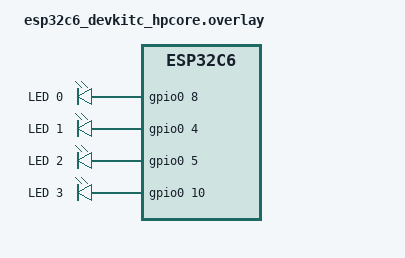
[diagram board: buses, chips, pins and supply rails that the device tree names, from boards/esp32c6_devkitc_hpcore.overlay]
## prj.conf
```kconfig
CONFIG_GPIO=y
CONFIG_LED_STRIP=y

# Debug build: -Og lets GDB stop at every source line with inspectable variables
CONFIG_DEBUG_OPTIMIZATIONS=y
```

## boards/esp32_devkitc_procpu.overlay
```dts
/*
 * Board overlay for ESP32-DevKitC PROCPU
 *
 * The ESP32 DevKitC has no built-in WS2812 LED. Connect a WS2812 data pin
 * to GPIO13 (SPIM2 MOSI). The SPI-based driver is used because the ESP32
 * does not have an I2S-DMA path suitable for LED strips.
 *
 * led-strip → WS2812 on GPIO13 (SPI2 MOSI, 6.4 MHz)
 */

#include <zephyr/dt-bindings/led/led.h>

&spi2 {
	/* Workaround: keep MOSI line low between transmissions */
	line-idle-low;

	led_strip: ws2812@0 {
		compatible = "worldsemi,ws2812-spi";

		/* SPI */
		reg = <0>; /* ignored, but required for SPI bindings */
		spi-max-frequency = <6400000>;

		/* WS2812 timing at 6.4 MHz (156.25 ns/bit × 8 bits = 1.25 µs/bit):
		 *   one-frame  = 0xF0 → 11110000 → 625 ns high + 625 ns low
		 *   zero-frame = 0xC0 → 11000000 → 312.5 ns high + 937.5 ns low
		 */
		spi-cpha;
		spi-one-frame  = <0xf0>;
		spi-zero-frame = <0xc0>;

		chain-length = <1>;
		color-mapping = <LED_COLOR_ID_GREEN
				 LED_COLOR_ID_RED
				 LED_COLOR_ID_BLUE>;
	};
};

/* Override SPI2 pinctrl to use only MOSI (data) — WS2812 is unidirectional */
&pinctrl {
	spim2_default: spim2_default {
		group2 {
			pinmux = <SPIM2_MOSI_GPIO13>;
			output-low;
		};
	};
};

/ {
	aliases {
		led-strip = &led_strip;
	};
};
```

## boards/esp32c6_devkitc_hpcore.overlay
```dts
/*
 * Board overlay for ESP32-C6-DevKitC HP Core
 *
 * Defines led0–led3 aliases required by the BME688 application.
 *
 * led0 → GPIO8  (onboard LED pin; WS2812 on DevKitC-1 v1.2, plain LED on v1.0)
 * led1 → GPIO4  (external LED, active-high)
 * led2 → GPIO5  (external LED, active-high)
 * led3 → GPIO10 (external LED, active-high)
 *
 * The button alias sw0 is already provided by the board DTS (GPIO9, BOOT key).
 */

/ {
	aliases {
		led0 = &led0;
		led1 = &led1;
		led2 = &led2;
		led3 = &led3;
	};

	leds {
		compatible = "gpio-leds";

		led0: led_0 {
			gpios = <&gpio0 8 GPIO_ACTIVE_HIGH>;
			label = "LED 0";
		};

		led1: led_1 {
			gpios = <&gpio0 4 GPIO_ACTIVE_HIGH>;
			label = "LED 1";
		};

		led2: led_2 {
			gpios = <&gpio0 5 GPIO_ACTIVE_HIGH>;
			label = "LED 2";
		};

		led3: led_3 {
			gpios = <&gpio0 10 GPIO_ACTIVE_HIGH>;
			label = "LED 3";
		};
	};
};
```

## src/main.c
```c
/*
 * Copyright (c) 2016 Intel Corporation
 *
 * SPDX-License-Identifier: Apache-2.0
 */

#include <stdio.h>
#include <string.h>
#include <zephyr/kernel.h>
#include <zephyr/drivers/led_strip.h>

/* 1000 msec = 1 sec */
#define SLEEP_TIME_MS   1000

/*
 * The onboard LED on ESP32-C6-DevKitC is a WS2812B RGB LED on GPIO8.
 * It is driven via I2S, not plain GPIO. Use the led_strip API.
 */
#define STRIP_NODE       DT_ALIAS(led_strip)
#define STRIP_NUM_PIXELS DT_PROP(STRIP_NODE, chain_length)

static const struct device *const strip = DEVICE_DT_GET(STRIP_NODE);
static struct led_rgb pixels[STRIP_NUM_PIXELS];

/* White at low brightness — WS2812 is very bright at full intensity */
static const struct led_rgb on_color  = { .r = 0x10, .g = 0x10, .b = 0x10 };
static const struct led_rgb off_color = { .r = 0x00, .g = 0x00, .b = 0x00 };

int main(void)
{
	bool led_state = false;

	if (!device_is_ready(strip)) {
		printf("LED strip device not ready\n");
		return 0;
	}

	while (1) {
		led_state = !led_state;
		pixels[0] = led_state ? on_color : off_color;
		led_strip_update_rgb(strip, pixels, STRIP_NUM_PIXELS);
		printf("LED state: %s\n", led_state ? "ON" : "OFF");
		k_msleep(SLEEP_TIME_MS);
	}
	return 0;
}
```
